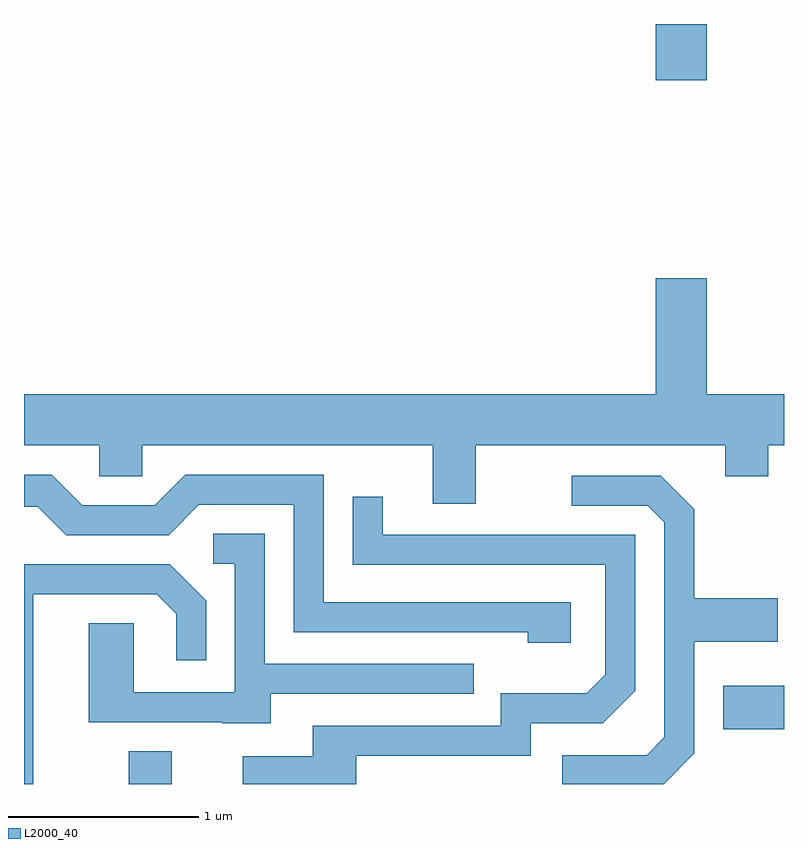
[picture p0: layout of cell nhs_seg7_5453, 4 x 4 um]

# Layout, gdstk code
import gdstk
lib = gdstk.Library(unit=1e-6, precision=1e-09)
def R(c, l, rs):  # rectangles x0, y0, x1, y1
    for r in rs: c.add(gdstk.rectangle(r[:2], r[2:], *l))
def P(c, l, *ps):  # polygons
    for p in ps: c.add(gdstk.Polygon(p, *l))
L2000_40 = (2000, 40)

nhs_seg7_5453 = lib.new_cell('nhs_seg7_5453')
R(nhs_seg7_5453, L2000_40, [(352.161,1770.252,352.389,1770.424), (355.291,1770.541,355.611,1770.769), (354.936,1773.956,355.204,1774.252)])
P(nhs_seg7_5453, L2000_40, [(353.989,1772.036),(355.301,1772.036),(355.301,1771.871),(355.529,1771.871),(355.529,1772.036),(355.611,1772.036),(355.611,1772.304),(355.204,1772.304),(355.204,1772.914),(354.936,1772.914),(354.936,1772.304),(351.611,1772.304),(351.611,1772.036),(352.006,1772.036),(352.006,1771.871),(352.234,1771.871),(352.234,1772.036),(353.761,1772.036),(353.761,1771.726),(353.989,1771.726)],
  [(354.489,1771.209),(353.189,1771.209),(353.189,1771.879),(352.459,1771.879),(352.299,1771.719),(351.917,1771.719),(351.757,1771.879),(351.611,1771.879),(351.611,1771.711),(351.684,1771.711),(351.834,1771.561),(352.372,1771.561),(352.532,1771.721),(353.031,1771.721),(353.031,1771.051),(354.261,1771.051),(354.261,1770.996),(354.489,1770.996)],
  [(355.139,1770.414),(355.139,1771.001),(355.579,1771.001),(355.579,1771.229),(355.139,1771.229),(355.139,1771.697),(354.962,1771.874),(354.493,1771.874),(354.493,1771.716),(354.894,1771.716),(354.981,1771.629),(354.981,1770.497),(354.889,1770.404),(354.443,1770.404),(354.443,1770.252),(354.978,1770.252)],
  [(353.359,1770.401),(354.279,1770.401),(354.279,1770.571),(354.657,1770.571),(354.829,1770.744),(354.829,1771.564),(353.499,1771.564),(353.499,1771.763),(353.341,1771.763),(353.341,1771.406),(354.671,1771.406),(354.671,1770.827),(354.574,1770.729),(354.121,1770.729),(354.121,1770.559),(353.131,1770.559),(353.131,1770.399),(352.763,1770.399),(352.763,1770.252),(353.359,1770.252)],
  [(352.909,1770.726),(353.978,1770.726),(353.978,1770.884),(352.879,1770.884),(352.879,1771.569),(352.608,1771.569),(352.608,1771.411),(352.721,1771.411),(352.721,1770.734),(352.189,1770.734),(352.189,1771.099),(351.951,1771.099),(351.951,1770.576),(352.655,1770.576),(352.655,1770.571),(352.909,1770.571)],
  [(351.659,1771.251),(352.309,1771.251),(352.411,1771.149),(352.411,1770.903),(352.569,1770.903),(352.569,1771.217),(352.377,1771.409),(351.611,1771.409),(351.611,1770.252),(351.659,1770.252)])

lib.write_gds('nhs_seg7_5453.gds')
